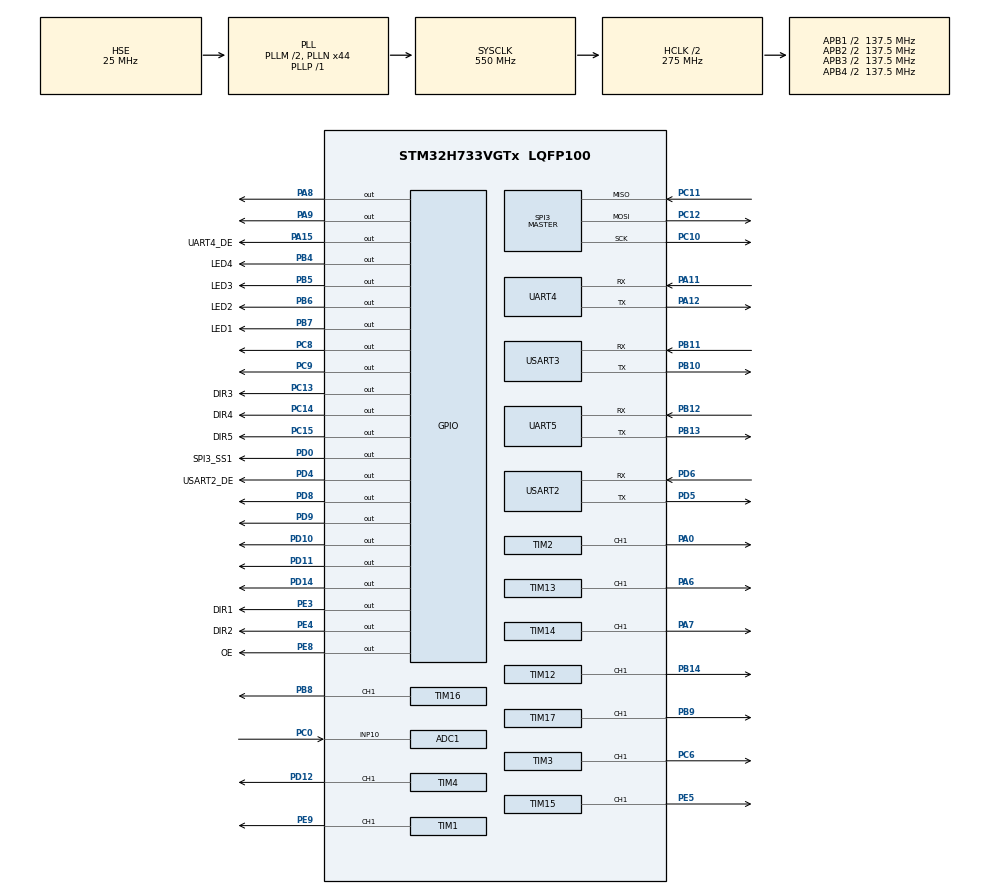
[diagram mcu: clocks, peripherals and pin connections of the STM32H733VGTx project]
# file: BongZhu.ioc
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ADC1.Channel-0\#ChannelRegularConversion=ADC_CHANNEL_10
ADC1.NbrOfConversionFlag=1
ADC1.OffsetNumber-0\#ChannelRegularConversion=ADC_OFFSET_NONE
ADC1.OffsetSignedSaturation-0\#ChannelRegularConversion=DISABLE
ADC1.Rank-0\#ChannelRegularConversion=1
ADC1.SamplingTime-0\#ChannelRegularConversion=ADC_SAMPLETIME_1CYCLE_5
ADC1.master=1
ADC3.Channel-0\#ChannelRegularConversion=ADC_CHANNEL_TEMPSENSOR
ADC3.ContinuousConvMode=ENABLE
ADC3.NbrOfConversionFlag=1
ADC3.OffsetNumber-0\#ChannelRegularConversion=ADC_OFFSET_NONE
ADC3.OffsetSaturation-0\#ChannelRegularConversion=DISABLE
ADC3.OffsetSign-0\#ChannelRegularConversion=ADC3_OFFSET_SIGN_NEGATIVE
ADC3.OffsetSignedSaturation-0\#ChannelRegularConversion=DISABLE
ADC3.Rank-0\#ChannelRegularConversion=1
ADC3.SamplingTime-0\#ChannelRegularConversion=ADC3_SAMPLETIME_12CYCLES_5
Dma.Request0=USART2_RX
Dma.USART2_RX.0.Direction=DMA_PERIPH_TO_MEMORY
Dma.USART2_RX.0.EventEnable=DISABLE
Dma.USART2_RX.0.FIFOMode=DMA_FIFOMODE_DISABLE
Dma.USART2_RX.0.Instance=DMA1_Stream0
Dma.USART2_RX.0.MemDataAlignment=DMA_MDATAALIGN_BYTE
Dma.USART2_RX.0.MemInc=DMA_MINC_ENABLE
Dma.USART2_RX.0.Mode=DMA_NORMAL
Dma.USART2_RX.0.PeriphDataAlignment=DMA_PDATAALIGN_BYTE
Dma.USART2_RX.0.PeriphInc=DMA_PINC_DISABLE
Dma.USART2_RX.0.Polarity=HAL_DMAMUX_REQ_GEN_RISING
Dma.USART2_RX.0.Priority=DMA_PRIORITY_LOW
Dma.USART2_RX.0.RequestNumber=1
Dma.USART2_RX.0.SignalID=NONE
Dma.USART2_RX.0.SyncEnable=DISABLE
Dma.USART2_RX.0.SyncPolarity=HAL_DMAMUX_SYNC_NO_EVENT
Dma.USART2_RX.0.SyncRequestNumber=1
Dma.USART2_RX.0.SyncSignalID=NONE
Mcu.Family=STM32H7
Mcu.Name=STM32H733VGTx
Mcu.Package=LQFP100
NVIC.DMA1_Stream0_IRQn=true\:0\:0\:false\:false\:true\:false\:true
NVIC.PriorityGroup=NVIC_PRIORITYGROUP_4
NVIC.TIM24_IRQn=true\:0\:0\:false\:false\:true\:true\:true
PA0.Signal=S_TIM2_CH1_ETR
PA11.Mode=Asynchronous
PA11.Signal=UART4_RX
PA12.Mode=Asynchronous
PA12.Signal=UART4_TX
PA13(JTMS/SWDIO).Mode=Trace_Asynchronous_SW
PA13(JTMS/SWDIO).Signal=DEBUG_JTMS-SWDIO
PA14(JTCK/SWCLK).Mode=Trace_Asynchronous_SW
PA14(JTCK/SWCLK).Signal=DEBUG_JTCK-SWCLK
PA15(JTDI).GPIO_Label=UART4_DE
PA15(JTDI).Signal=GPIO_Output
PA3.Signal=S_TIM15_CH2
PA6.Signal=S_TIM13_CH1
PA7.Signal=S_TIM14_CH1
PA8.Signal=GPIO_Output
PA9.Signal=GPIO_Output
PB10.Mode=Asynchronous
PB10.Signal=USART3_TX
PB11.Mode=Asynchronous
PB11.Signal=USART3_RX
PB12.Mode=Asynchronous
PB12.Signal=UART5_RX
PB13.Mode=Asynchronous
PB13.Signal=UART5_TX
PB14.Signal=S_TIM12_CH1
PB3(JTDO/TRACESWO).Mode=Trace_Asynchronous_SW
PB3(JTDO/TRACESWO).Signal=DEBUG_JTDO-SWO
PB4(NJTRST).GPIO_Label=LED4
PB4(NJTRST).Signal=GPIO_Output
PB5.GPIO_Label=LED3
PB5.Signal=GPIO_Output
PB6.GPIO_Label=LED2
PB6.Signal=GPIO_Output
PB7.GPIO_Label=LED1
PB7.Signal=GPIO_Output
PB8.Signal=S_TIM16_CH1
PB9.Signal=S_TIM17_CH1
PC0.Signal=ADCx_INP10
PC10.Mode=Full_Duplex_Master
PC10.Signal=SPI3_SCK
PC11.Mode=Full_Duplex_Master
PC11.Signal=SPI3_MISO
PC12.Mode=Full_Duplex_Master
PC12.Signal=SPI3_MOSI
PC13.GPIO_Label=DIR3
PC13.Signal=GPIO_Output
PC14-OSC32_IN.GPIO_Label=DIR4
PC14-OSC32_IN.Signal=GPIO_Output
PC15-OSC32_OUT.GPIO_Label=DIR5
PC15-OSC32_OUT.Signal=GPIO_Output
PC6.Signal=S_TIM3_CH1
PC8.Signal=GPIO_Output
PC9.Signal=GPIO_Output
PD0.GPIO_Label=SPI3_SS1
PD0.Signal=GPIO_Output
PD10.Signal=GPIO_Output
PD11.Signal=GPIO_Output
PD12.Signal=S_TIM4_CH1
PD14.Signal=GPIO_Output
PD4.GPIO_Label=USART2_DE
PD4.Signal=GPIO_Output
PD5.Mode=Asynchronous
PD5.Signal=USART2_TX
PD6.Mode=Asynchronous
PD6.Signal=USART2_RX
PD8.Signal=GPIO_Output
PD9.Signal=GPIO_Output
PE3.GPIO_Label=DIR1
PE3.Signal=GPIO_Output
PE4.GPIO_Label=DIR2
PE4.Signal=GPIO_Output
PE5.Signal=S_TIM15_CH1
PE8.GPIO_Label=OE
PE8.Signal=GPIO_Output
PE9.Signal=S_TIM1_CH1
PH0-OSC_IN.Mode=HSE-External-Oscillator
PH0-OSC_IN.Signal=RCC_OSC_IN
PH1-OSC_OUT.Mode=HSE-External-Oscillator
PH1-OSC_OUT.Signal=RCC_OSC_OUT
ProjectManager.HeapSize=0x200
ProjectManager.StackSize=0x400
ProjectManager.TargetToolchain=STM32CubeIDE
RCC.ADCFreq_Value=96000671.38671875
RCC.APB1Freq_Value=137500000
RCC.APB2Freq_Value=137500000
RCC.APB3Freq_Value=137500000
RCC.APB4Freq_Value=137500000
RCC.CortexFreq_Value=550000000
RCC.D1PPRE=RCC_APB3_DIV2
RCC.D2PPRE1=RCC_APB1_DIV2
RCC.D2PPRE2=RCC_APB2_DIV2
RCC.D3PPRE=RCC_APB4_DIV2
RCC.DIVM1=2
RCC.DIVM2=2
RCC.DIVN1=44
RCC.DIVN2=15
RCC.DIVP1=1
RCC.DIVQ1=3
RCC.EnbaleCSS=true
RCC.HCLKFreq_Value=275000000
RCC.HPRE=RCC_HCLK_DIV2
RCC.PLL2FRACN=2950
RCC.PLLFRACN=0
RCC.PLLSourceVirtual=RCC_PLLSOURCE_HSE
RCC.SYSCLKFreq_VALUE=550000000
RCC.SYSCLKSource=RCC_SYSCLKSOURCE_PLLCLK
RCC.USBFreq_Value=183333333.33333334
SH.ADCx_INP10.0=ADC1_INP10,IN10-Single-Ended
SH.S_TIM12_CH1.0=TIM12_CH1,PWM Generation1 CH1
SH.S_TIM13_CH1.0=TIM13_CH1,PWM Generation1 CH1
SH.S_TIM14_CH1.0=TIM14_CH1,PWM Generation1 CH1
SH.S_TIM15_CH1.0=TIM15_CH1,PWM Generation1 CH1
SH.S_TIM15_CH2.0=TIM15_CH2
SH.S_TIM16_CH1.0=TIM16_CH1,PWM Generation1 CH1
SH.S_TIM17_CH1.0=TIM17_CH1,PWM Generation1 CH1
SH.S_TIM1_CH1.0=TIM1_CH1,PWM Generation1 CH1
SH.S_TIM2_CH1_ETR.0=TIM2_CH1,PWM Generation1 CH1
SH.S_TIM3_CH1.0=TIM3_CH1,PWM Generation1 CH1
SH.S_TIM4_CH1.0=TIM4_CH1,PWM Generation1 CH1
SPI3.CalculateBaudRate=91.666664 MBits/s
SPI3.Direction=SPI_DIRECTION_2LINES
SPI3.Mode=SPI_MODE_MASTER
SPI3.VirtualType=VM_MASTER
TIM1.AutoReloadPreload=TIM_AUTORELOAD_PRELOAD_ENABLE
TIM1.Channel-PWM\ Generation1\ CH1=TIM_CHANNEL_1
TIM1.Period=10000
TIM1.Prescaler=550-1
TIM12.AutoReloadPreload=TIM_AUTORELOAD_PRELOAD_ENABLE
TIM12.Channel-PWM\ Generation1\ CH1=TIM_CHANNEL_1
TIM12.Period=1 - 1
TIM12.Prescaler=550 - 1
TIM12.Pulse-PWM\ Generation1\ CH1=500 - 1
TIM13.AutoReloadPreload=TIM_AUTORELOAD_PRELOAD_ENABLE
TIM13.Channel=TIM_CHANNEL_1
TIM13.Period=1-1
TIM13.Prescaler=550 - 1
TIM13.Pulse=500-1
TIM14.AutoReloadPreload=TIM_AUTORELOAD_PRELOAD_ENABLE
TIM14.Channel=TIM_CHANNEL_1
TIM14.Period=1-1
TIM14.Prescaler=550-1
TIM14.Pulse=500-1
TIM15.AutoReloadPreload=TIM_AUTORELOAD_PRELOAD_ENABLE
TIM15.Channel-PWM\ Generation1\ CH1=TIM_CHANNEL_1
TIM15.Period=10000
TIM15.Prescaler=550 - 1
TIM16.AutoReloadPreload=TIM_AUTORELOAD_PRELOAD_ENABLE
TIM16.Channel=TIM_CHANNEL_1
TIM16.Period=1-1
TIM16.Prescaler=550-1
TIM16.Pulse=500-1
TIM17.AutoReloadPreload=TIM_AUTORELOAD_PRELOAD_ENABLE
TIM17.Channel=TIM_CHANNEL_1
TIM17.Period=1000
TIM17.Prescaler=550-1
TIM17.Pulse=500-1
TIM2.AutoReloadPreload=TIM_AUTORELOAD_PRELOAD_ENABLE
TIM2.Channel-PWM\ Generation1\ CH1=TIM_CHANNEL_1
TIM2.Period=10000
TIM2.Prescaler=550 - 1
TIM23.Prescaler=275-1
TIM24.AutoReloadPreload=TIM_AUTORELOAD_PRELOAD_ENABLE
TIM24.Period=10000 - 1
TIM24.Prescaler=275 - 1
TIM3.AutoReloadPreload=TIM_AUTORELOAD_PRELOAD_ENABLE
TIM3.Channel-PWM\ Generation1\ CH1=TIM_CHANNEL_1
TIM3.Period=10000
TIM3.Prescaler=550 - 1
TIM4.AutoReloadPreload=TIM_AUTORELOAD_PRELOAD_ENABLE
TIM4.Channel-PWM\ Generation1\ CH1=TIM_CHANNEL_1
TIM4.Period=10000
TIM4.Prescaler=550-1
USART2.VirtualMode-Asynchronous=VM_ASYNC
USART3.VirtualMode-Asynchronous=VM_ASYNC
VP_ADC3_TempSens_Input.Mode=IN-TempSens
VP_TIM12_VS_ClockSourceINT.Mode=Internal
VP_TIM13_VS_ClockSourceINT.Mode=Enable_Timer
VP_TIM14_VS_ClockSourceINT.Mode=Enable_Timer
VP_TIM15_VS_ClockSourceINT.Mode=Internal
VP_TIM16_VS_ClockSourceINT.Mode=Enable_Timer
VP_TIM17_VS_ClockSourceINT.Mode=Enable_Timer
VP_TIM1_VS_ClockSourceINT.Mode=Internal
VP_TIM23_VS_ClockSourceINT.Mode=Internal
VP_TIM24_VS_ClockSourceINT.Mode=Internal
VP_TIM2_VS_ClockSourceINT.Mode=Internal
VP_TIM3_VS_ClockSourceINT.Mode=Internal
VP_TIM4_VS_ClockSourceINT.Mode=Internal
board=custom

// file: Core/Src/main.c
/* USER CODE BEGIN Header */
/**
 ******************************************************************************
 * @file           : main.c
 * @brief          : Main program body
 ******************************************************************************
 * @attention
 *
 * Copyright (c) 2022 STMicroelectronics.
 * All rights reserved.
 *
 * This software is licensed under terms that can be found in the LICENSE file
 * in the root directory of this software component.
 * If no LICENSE file comes with this software, it is provided AS-IS.
 *
 ******************************************************************************
 */
/* USER CODE END Header */
#include "main.h"
#include "adc.h"
#include "dma.h"
#include "spi.h"
#include "tim.h"
#include "usart.h"
#include "gpio.h"

/* USER CODE BEGIN Includes */
#include "kinematic.h"
#include "motor.h"
#include "AMT21.h"
#include "stdio.h"
#include "PID.h"
#include "math.h"
#include "KalmanFilter.h"
/* USER CODE END Includes */

/* USER CODE BEGIN PV */
AMT21 encoders[5];
Stepper_Motor steppers[5];
Servo_Motor servo_motor;
PIDController position_pid_controller[5];
PIDController velocity_pid_controller[5];

KalmanFilter kalman_filter[5];
float kalman_R = 0.00125;
float kalman_Q = 2000;

int32_t joint_state[5] = { 0 };
int32_t prev_joint_state[5] = { 0 };
int32_t joint_speed[5] = { 0 };
int32_t set_point[5] = { 0 };

uint8_t desired_value_mode = 1; // if (step = 0, sin = 1)
float desired_amplitude = 500;
float desired_position_cal = 0;
float desired_velocity_cal = 0;
float desired_position[5] = {0};
float desired_velocity[5] = {0};

/*
 * for step generator
 */
uint16_t tim_cnt = 0;
uint16_t step_interval = 500;
/*
 * for sin wave generator
 */
float AngleInput = 0;
float changeRate = 0.0125;
/*
 * for cascade
 */
float cascade_out = 0;
int enc_cnt = 0;
uint8_t j_num = 0;

/* USER CODE END PV */

void SystemClock_Config(void);
void PeriphCommonClock_Config(void);
/* USER CODE BEGIN PFP */

/*
 * printf
 */
#ifdef __GNUC__
/* With GCC, small printf (option LD Linker->Libraries->Small printf
 set to 'Yes') calls __io_putchar() */
#define PUTCHAR_PROTOTYPE int __io_putchar(int ch)
#else
#define PUTCHAR_PROTOTYPE int fputc(int ch, FILE *f)
#endif /* __GNUC__ */

/* USER CODE END PFP */

int main(void) {

	/* MCU Configuration--------------------------------------------------------*/

	/* Reset of all peripherals, Initializes the Flash interface and the Systick. */
	HAL_Init();

	/* Configure the system clock */
	SystemClock_Config();

	/* Configure the peripherals common clocks */
	PeriphCommonClock_Config();

	/* Initialize all configured peripherals */
	MX_GPIO_Init();
	MX_DMA_Init();
	MX_ADC1_Init();
	MX_ADC3_Init();
	MX_SPI3_Init();
	MX_TIM1_Init();
	MX_TIM2_Init();
	MX_TIM3_Init();
	MX_TIM4_Init();
	MX_TIM12_Init();
	MX_TIM13_Init();
	MX_TIM14_Init();
	MX_TIM15_Init();
	MX_TIM16_Init();
	MX_TIM17_Init();
	MX_UART4_Init();
	MX_UART5_Init();
	MX_USART2_UART_Init();
	MX_USART3_UART_Init();
	MX_TIM24_Init();
	MX_TIM23_Init();
	/* USER CODE BEGIN 2 */
//	HAL_TIM_Base_Start_IT(&htim24);
	uint32_t timestamp = 0;
	int32_t encoder_unwrap_value[5] = {0};
	/*
	 * Servo Initialise
	 */
//	HAL_GPIO_WritePin(OE_GPIO_Port, OE_Pin, 1);
//	servo_initialise(&servo_motor, &htim17, TIM_CHANNEL_1);
	/*
	 * Encoder Initialise
	 */
	AMT21_initialise(&encoders[0], &huart2, 0x2C, USART2_DE_GPIO_Port,
	USART2_DE_Pin);
	AMT21_initialise(&encoders[1], &huart2, 0x70, USART2_DE_GPIO_Port,
	USART2_DE_Pin);
	AMT21_initialise(&encoders[2], &huart2, 0x54, USART2_DE_GPIO_Port,
	USART2_DE_Pin);
	AMT21_initialise(&encoders[3], &huart2, 0xE8, USART2_DE_GPIO_Port,
	USART2_DE_Pin);
	AMT21_initialise(&encoders[4], &huart2, 0xB4, USART2_DE_GPIO_Port,
	USART2_DE_Pin);
	/*
	 * Stepper Initialise
	 */
	stepper_initialise(&steppers[0], &htim1, TIM_CHANNEL_1, DIR1_GPIO_Port,
	DIR1_Pin, 0);
	stepper_initialise(&steppers[1], &htim2, TIM_CHANNEL_1, DIR2_GPIO_Port,
	DIR2_Pin ,1);
	stepper_initialise(&steppers[2], &htim3, TIM_CHANNEL_1, DIR3_GPIO_Port,
	DIR3_Pin ,1);
	stepper_initialise(&steppers[3], &htim4, TIM_CHANNEL_1, DIR4_GPIO_Port,
	DIR4_Pin ,0);
	stepper_initialise(&steppers[4], &htim15, TIM_CHANNEL_1, DIR5_GPIO_Port,
	DIR5_Pin ,0);
	/*
	 * Kalman Filter Initialise
	 */
	KalmanFilter_Init(&kalman_filter[0], 0, 0, 1, 0, 0, 1, kalman_R, kalman_Q);
	KalmanFilter_Init(&kalman_filter[1], 0, 0, 1, 0, 0, 1, kalman_R, kalman_Q);
	KalmanFilter_Init(&kalman_filter[2], 0, 0, 1, 0, 0, 1, kalman_R, kalman_Q);
	KalmanFilter_Init(&kalman_filter[3], 0, 0, 1, 0, 0, 1, kalman_R, kalman_Q);
	KalmanFilter_Init(&kalman_filter[4], 0, 0, 1, 0, 0, 1, kalman_R, kalman_Q);
	/*
	 * Position Pid Initialise
	 */
	PIDController_initialise(&position_pid_controller[0], 1, 0, 0);
	PIDController_initialise(&position_pid_controller[1], 2, 0, 0);
	PIDController_initialise(&position_pid_controller[2], 3, 0, 0);
	PIDController_initialise(&position_pid_controller[3], 1, 0, 0);
	PIDController_initialise(&position_pid_controller[4], 2, 0, 0);
	/*
	 * Velocity Pid Initialise
	 */
	PIDController_initialise(&velocity_pid_controller[0], 0, 0, 0);
	PIDController_initialise(&velocity_pid_controller[1], 0, 0, 0);
	PIDController_initialise(&velocity_pid_controller[2], 0, 0, 0);
	PIDController_initialise(&velocity_pid_controller[3], 0, 0, 0);
	PIDController_initialise(&velocity_pid_controller[4], 0, 0, 0);
	/* USER CODE END 2 */

	/* Infinite loop */
	/* USER CODE BEGIN WHILE */
	while (1) {
		if (HAL_GetTick() - timestamp >= 1) {
			timestamp = HAL_GetTick();
//			if (j_num == 0){
//				AngleInput += changeRate;
//				if (AngleInput > 2 * M_PI) {
//					AngleInput -= 2 * M_PI;
//				} else if (AngleInput < 0) {
//					AngleInput += 2 * M_PI;
//				}
//				desired_position_cal = sin(AngleInput) * desired_amplitude;
//			}
			HAL_StatusTypeDef rep = HAL_ERROR;
			encoder_unwrap_value[j_num] = 0;
			while (1) {
				AMT21_read_value(&(encoders[j_num]));
				rep = AMT21_check_value(&(encoders[j_num]));
				if (rep == HAL_OK) {
					encoder_unwrap_value[j_num] = AMT21_unwrap(
							(int32_t) encoders[j_num].position,
							(int32_t) encoders[j_num].prev_position);
					encoders[j_num].prev_position = encoders[j_num].position;
					break;
				}
			}
			joint_state[j_num] = joint_state[j_num] + encoder_unwrap_value[j_num];
			KalmanFilter_Update(&kalman_filter[j_num], joint_state[j_num]);
			/*
			 * Speed Controller
			 */
//			PIDController_update(&velocity_pid_controller[j_num],
//					desired_velocity[j_num], kalman_filter[j_num].x2);
//			stepper_set_speed(&steppers[j_num],
//					velocity_pid_controller[j_num].out);
			/*
			 * Position Controller
			 */
//			PIDController_update(&position_pid_controller[j_num], desired_position_cal, kalman_filter[j_num].x1);
			PIDController_update(&position_pid_controller[j_num], desired_position[j_num], joint_state[j_num]);
			stepper_set_speed(&steppers[j_num], position_pid_controller[j_num].out);
			/*
			 * Cascade Control
			 */
//			cascade_out = Cascade_PIDController_update(&position_pid_controller[CURRENT_NUMBER], &velocity_pid_controller[CURRENT_NUMBER], &kalman_filter[CURRENT_NUMBER], desired_position, desired_velocity);
//			stepper_set_speed(&steppers[CURRENT_NUMBER], cascade_out);
			j_num++;
//			if(j_num ==)
			if (j_num == 3){
				j_num = 4;
			}
			if (j_num == 5){
				j_num = 0;
			}
		}
		/* USER CODE END WHILE */

	}
}

void SystemClock_Config(void) {
	RCC_OscInitTypeDef RCC_OscInitStruct = { 0 };
	RCC_ClkInitTypeDef RCC_ClkInitStruct = { 0 };

	/** Supply configuration update enable
	 */
	HAL_PWREx_ConfigSupply(PWR_LDO_SUPPLY);
	/** Configure the main internal regulator output voltage
	 */
	__HAL_PWR_VOLTAGESCALING_CONFIG(PWR_REGULATOR_VOLTAGE_SCALE0);

	while (!__HAL_PWR_GET_FLAG(PWR_FLAG_VOSRDY)) {
	}
	/** Macro to configure the PLL clock source
	 */
	__HAL_RCC_PLL_PLLSOURCE_CONFIG(RCC_PLLSOURCE_HSE);
	/** Initializes the RCC Oscillators according to the specified parameters
	 * in the RCC_OscInitTypeDef structure.
	 */
	RCC_OscInitStruct.OscillatorType = RCC_OSCILLATORTYPE_HSE;
	RCC_OscInitStruct.HSEState = RCC_HSE_ON;
	RCC_OscInitStruct.PLL.PLLState = RCC_PLL_ON;
	RCC_OscInitStruct.PLL.PLLSource = RCC_PLLSOURCE_HSE;
	RCC_OscInitStruct.PLL.PLLM = 2;
	RCC_OscInitStruct.PLL.PLLN = 44;
	RCC_OscInitStruct.PLL.PLLP = 1;
	RCC_OscInitStruct.PLL.PLLQ = 3;
	RCC_OscInitStruct.PLL.PLLR = 2;
	RCC_OscInitStruct.PLL.PLLRGE = RCC_PLL1VCIRANGE_3;
	RCC_OscInitStruct.PLL.PLLVCOSEL = RCC_PLL1VCOWIDE;
	RCC_OscInitStruct.PLL.PLLFRACN = 0;
	if (HAL_RCC_OscConfig(&RCC_OscInitStruct) != HAL_OK) {
		Error_Handler();
	}
	/** Initializes the CPU, AHB and APB buses clocks
	 */
	RCC_ClkInitStruct.ClockType = RCC_CLOCKTYPE_HCLK | RCC_CLOCKTYPE_SYSCLK
			| RCC_CLOCKTYPE_PCLK1 | RCC_CLOCKTYPE_PCLK2 | RCC_CLOCKTYPE_D3PCLK1
			| RCC_CLOCKTYPE_D1PCLK1;
	RCC_ClkInitStruct.SYSCLKSource = RCC_SYSCLKSOURCE_PLLCLK;
	RCC_ClkInitStruct.SYSCLKDivider = RCC_SYSCLK_DIV1;
	RCC_ClkInitStruct.AHBCLKDivider = RCC_HCLK_DIV2;
	RCC_ClkInitStruct.APB3CLKDivider = RCC_APB3_DIV2;
	RCC_ClkInitStruct.APB1CLKDivider = RCC_APB1_DIV2;
	RCC_ClkInitStruct.APB2CLKDivider = RCC_APB2_DIV2;
	RCC_ClkInitStruct.APB4CLKDivider = RCC_APB4_DIV2;

	if (HAL_RCC_ClockConfig(&RCC_ClkInitStruct, FLASH_LATENCY_3) != HAL_OK) {
		Error_Handler();
	}
	/** Enables the Clock Security System
	 */
	HAL_RCC_EnableCSS();
}

void PeriphCommonClock_Config(void) {
	RCC_PeriphCLKInitTypeDef PeriphClkInitStruct = { 0 };

	/** Initializes the peripherals clock
	 */
	PeriphClkInitStruct.PeriphClockSelection = RCC_PERIPHCLK_ADC;
	PeriphClkInitStruct.PLL2.PLL2M = 2;
	PeriphClkInitStruct.PLL2.PLL2N = 15;
	PeriphClkInitStruct.PLL2.PLL2P = 2;
	PeriphClkInitStruct.PLL2.PLL2Q = 2;
	PeriphClkInitStruct.PLL2.PLL2R = 2;
	PeriphClkInitStruct.PLL2.PLL2RGE = RCC_PLL2VCIRANGE_3;
	PeriphClkInitStruct.PLL2.PLL2VCOSEL = RCC_PLL2VCOWIDE;
	PeriphClkInitStruct.PLL2.PLL2FRACN = 2950;
	PeriphClkInitStruct.AdcClockSelection = RCC_ADCCLKSOURCE_PLL2;
	if (HAL_RCCEx_PeriphCLKConfig(&PeriphClkInitStruct) != HAL_OK) {
		Error_Handler();
	}
}

/* USER CODE BEGIN 4 */

PUTCHAR_PROTOTYPE {
	/* Place your implementation of fputc here */
	/* e.g. write a character to the EVAL_COM1 and Loop until the end of transmission */
	HAL_UART_Transmit(&huart3, (uint8_t*) &ch, 1, 1);

	return ch;
}

void HAL_TIM_PeriodElapsedCallback(TIM_HandleTypeDef *htim) {
	if (htim == &htim24);
}
/* USER CODE END 4 */

void Error_Handler(void) {
	__disable_irq();
	while (1) {
	}
}
